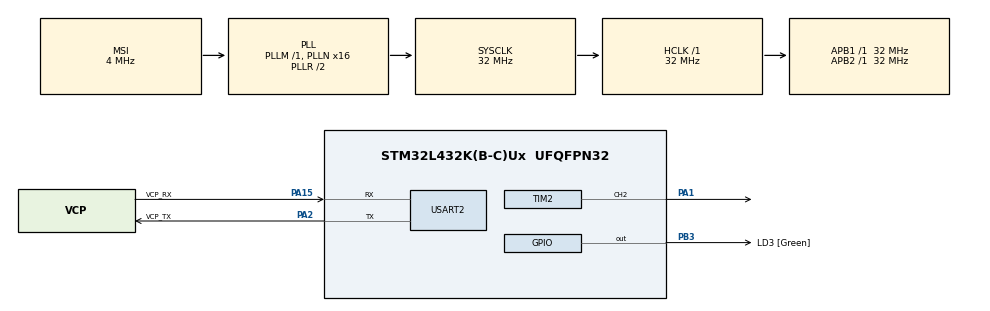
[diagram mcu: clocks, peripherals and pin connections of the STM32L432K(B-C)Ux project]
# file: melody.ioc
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Mcu.Family=STM32L4
Mcu.Name=STM32L432K(B-C)Ux
Mcu.Package=UFQFPN32
NVIC.PriorityGroup=NVIC_PRIORITYGROUP_4
PA0.GPIO_Label=MCO [High speed clock in]
PA0.Mode=HSE-External-Clock-Source-for-LittleOrca
PA0.Signal=RCC_CK_IN
PA1.Signal=S_TIM2_CH2
PA13\ (JTMS-SWDIO).GPIO_Label=SWDIO
PA13\ (JTMS-SWDIO).Mode=Serial_Wire
PA13\ (JTMS-SWDIO).Signal=SYS_JTMS-SWDIO
PA14\ (JTCK-SWCLK).GPIO_Label=SWCLK
PA14\ (JTCK-SWCLK).Mode=Serial_Wire
PA14\ (JTCK-SWCLK).Signal=SYS_JTCK-SWCLK
PA15\ (JTDI).GPIO_Label=VCP_RX
PA15\ (JTDI).Mode=Asynchronous
PA15\ (JTDI).Signal=USART2_RX
PA2.GPIO_Label=VCP_TX
PA2.Mode=Asynchronous
PA2.Signal=USART2_TX
PB3\ (JTDO-TRACESWO).GPIO_Label=LD3 [Green]
PB3\ (JTDO-TRACESWO).Signal=GPIO_Output
PC14-OSC32_IN\ (PC14).Mode=LSE-External-Oscillator
PC14-OSC32_IN\ (PC14).Signal=RCC_OSC32_IN
PC15-OSC32_OUT\ (PC15).Mode=LSE-External-Oscillator
PC15-OSC32_OUT\ (PC15).Signal=RCC_OSC32_OUT
ProjectManager.HeapSize=0x200
ProjectManager.StackSize=0x400
ProjectManager.TargetToolchain=Makefile
RCC.AHBFreq_Value=32000000
RCC.APB1Freq_Value=32000000
RCC.APB1TimFreq_Value=32000000
RCC.APB2Freq_Value=32000000
RCC.APB2TimFreq_Value=32000000
RCC.CortexFreq_Value=32000000
RCC.HCLKFreq_Value=32000000
RCC.HSE_VALUE=8000000
RCC.HSI16_VALUE=16000000
RCC.HSI48_VALUE=48000000
RCC.HSI_VALUE=16000000
RCC.MSI_VALUE=4000000
RCC.PLLMUL=RCC_PLLMUL_4
RCC.PLLN=16
RCC.SYSCLKFreq_VALUE=32000000
RCC.SYSCLKSource=RCC_SYSCLKSOURCE_PLLCLK
RCC.VCOOutputFreq_Value=64000000
SH.S_TIM2_CH2.0=TIM2_CH2,PWM Generation2 CH2
TIM2.AutoReloadPreload=TIM_AUTORELOAD_PRELOAD_DISABLE
TIM2.Channel-PWM\ Generation2\ CH2=TIM_CHANNEL_2
TIM2.OC2Preload_PWM=ENABLE
TIM2.OCMode_PWM-PWM\ Generation2\ CH2=TIM_OCMODE_PWM1
TIM2.Period=72727
TIM2.Pulse-PWM\ Generation2\ CH2=36363
USART2.VirtualMode-Asynchronous=VM_ASYNC
board=NUCLEO-L432KC

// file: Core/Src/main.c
/* USER CODE BEGIN Header */
/**
  ******************************************************************************
  * @file           : main.c
  * @brief          : Main program body
  ******************************************************************************
  * @attention
  *
  * Copyright (c) 2022 STMicroelectronics.
  * All rights reserved.
  *
  * This software is licensed under terms that can be found in the LICENSE file
  * in the root directory of this software component.
  * If no LICENSE file comes with this software, it is provided AS-IS.
  *
  ******************************************************************************
  */
/* USER CODE END Header */
#include "main.h"

TIM_HandleTypeDef htim2;

UART_HandleTypeDef huart2;

void SystemClock_Config(void);
static void MX_GPIO_Init(void);
static void MX_USART2_UART_Init(void);
static void MX_TIM2_Init(void);

struct note{
	float frequency;
	int value;

};

int main(void)

{
  /* MCU Configuration--------------------------------------------------------*/
  /* Reset of all peripherals, Initializes the Flash interface and the Systick. */

 HAL_Init();

 /* Configure the system clock */

  SystemClock_Config();

 /* Initialize all configured peripherals */

  MX_GPIO_Init();
  MX_USART2_UART_Init();
  MX_TIM2_Init();

  /* Infinite loop */

  /* USER CODE BEGIN WHILE */
 #define MHz 32000000
 #define NOTE_E6  1319
 #define NOTE_G6  1568
 #define NOTE_A6  1760
 #define NOTE_AS6 1865
 #define NOTE_B6  1976
 #define NOTE_C7  2093
 #define NOTE_D7  2349
 #define NOTE_E7  2637
 #define NOTE_F7  2794
 #define NOTE_G7  3136
 #define NOTE_A7  3520
 #define NOTE_B7  3951

 void Play(int note, int ms){
	__HAL_TIM_SET_COUNTER(&htim2,0);
	__HAL_TIM_SET_AUTORELOAD(&htim2,MHz/note);
     __HAL_TIM_SET_COMPARE(&htim2,TIM_CHANNEL_2,MHz/note/2);
	HAL_TIM_PWM_Start(&htim2,TIM_CHANNEL_2);
	HAL_Delay(ms/2);

	HAL_TIM_PWM_Stop(&htim2,TIM_CHANNEL_2);

	HAL_Delay(ms/2);

  }

  void PlayMusic(const struct note *Notes, int length, float Speed){

  	for(int i = 0; i < length; i++){

  		float finalSpeed = Notes[i].value - Notes[i].value%2;

  		if(finalSpeed == 0)

  			finalSpeed = 1.0;

  		finalSpeed = 1.0/finalSpeed;

		if(Notes[i].value%2 == 1)

			finalSpeed += finalSpeed*0.5;

  		Play(Notes[i].frequency,Speed*finalSpeed);

  	}

  }

  const struct note song1[]  = {
	{NOTE_E7,4},
	{NOTE_E7,4},
	{NOTE_E7,4},

	{NOTE_C7,4},
	{NOTE_E7,4},
	{NOTE_G7,2},
	{NOTE_G7,4},

	{NOTE_C7,2},
	{NOTE_G6,2},
	{NOTE_E6,2},

	{NOTE_A6,4},
	{NOTE_B6,4},
	{NOTE_AS6,4},
	{NOTE_A6,4},

	{NOTE_G6,4},
	{NOTE_E7,4},
	{NOTE_G7,4},
	{NOTE_A7,4},

	{NOTE_F7,4},
	{NOTE_G7,4},
	{NOTE_E7,4},
	{NOTE_C7,4},
	{NOTE_D7,4},
	{NOTE_B6,4},

	{NOTE_C7,2},
	{NOTE_G6,2},
	{NOTE_E6,2},

	{NOTE_A6,4},
	{NOTE_B7,4},
	{NOTE_AS6,4},
	{NOTE_A6,4},

	{NOTE_G6,4},
	{NOTE_E7,4},
	{NOTE_G7,4},
	{NOTE_A7,4},

	{NOTE_F7,4},
	{NOTE_G7,4},
	{NOTE_E7,4},
	{NOTE_C7,4},
	{NOTE_D7,4},
	{NOTE_B6,4},

  };

  while (1)

  {
    /* USER CODE END WHILE */

	PlayMusic(song1,sizeof(song1)/sizeof(song1[0]),1000);

  }

}

void SystemClock_Config(void)
{
  RCC_OscInitTypeDef RCC_OscInitStruct = {0};
  RCC_ClkInitTypeDef RCC_ClkInitStruct = {0};

  /** Configure the main internal regulator output voltage
  */
  if (HAL_PWREx_ControlVoltageScaling(PWR_REGULATOR_VOLTAGE_SCALE1) != HAL_OK)
  {
    Error_Handler();
  }

  /** Configure LSE Drive Capability
  */
  HAL_PWR_EnableBkUpAccess();
  __HAL_RCC_LSEDRIVE_CONFIG(RCC_LSEDRIVE_LOW);

  /** Initializes the RCC Oscillators according to the specified parameters
  * in the RCC_OscInitTypeDef structure.
  */
  RCC_OscInitStruct.OscillatorType = RCC_OSCILLATORTYPE_LSE|RCC_OSCILLATORTYPE_MSI;
  RCC_OscInitStruct.LSEState = RCC_LSE_ON;
  RCC_OscInitStruct.MSIState = RCC_MSI_ON;
  RCC_OscInitStruct.MSICalibrationValue = 0;
  RCC_OscInitStruct.MSIClockRange = RCC_MSIRANGE_6;
  RCC_OscInitStruct.PLL.PLLState = RCC_PLL_ON;
  RCC_OscInitStruct.PLL.PLLSource = RCC_PLLSOURCE_MSI;
  RCC_OscInitStruct.PLL.PLLM = 1;
  RCC_OscInitStruct.PLL.PLLN = 16;
  RCC_OscInitStruct.PLL.PLLP = RCC_PLLP_DIV7;
  RCC_OscInitStruct.PLL.PLLQ = RCC_PLLQ_DIV2;
  RCC_OscInitStruct.PLL.PLLR = RCC_PLLR_DIV2;
  if (HAL_RCC_OscConfig(&RCC_OscInitStruct) != HAL_OK)
  {
    Error_Handler();
  }

  /** Initializes the CPU, AHB and APB buses clocks
  */
  RCC_ClkInitStruct.ClockType = RCC_CLOCKTYPE_HCLK|RCC_CLOCKTYPE_SYSCLK
                              |RCC_CLOCKTYPE_PCLK1|RCC_CLOCKTYPE_PCLK2;
  RCC_ClkInitStruct.SYSCLKSource = RCC_SYSCLKSOURCE_PLLCLK;
  RCC_ClkInitStruct.AHBCLKDivider = RCC_SYSCLK_DIV1;
  RCC_ClkInitStruct.APB1CLKDivider = RCC_HCLK_DIV1;
  RCC_ClkInitStruct.APB2CLKDivider = RCC_HCLK_DIV1;

  if (HAL_RCC_ClockConfig(&RCC_ClkInitStruct, FLASH_LATENCY_1) != HAL_OK)
  {
    Error_Handler();
  }

  /** Enable MSI Auto calibration
  */
  HAL_RCCEx_EnableMSIPLLMode();
}

static void MX_TIM2_Init(void)
{

  TIM_MasterConfigTypeDef sMasterConfig = {0};
  TIM_OC_InitTypeDef sConfigOC = {0};

  htim2.Instance = TIM2;
  htim2.Init.Prescaler = 0;
  htim2.Init.CounterMode = TIM_COUNTERMODE_UP;
  htim2.Init.Period = 72727;
  htim2.Init.ClockDivision = TIM_CLOCKDIVISION_DIV1;
  htim2.Init.AutoReloadPreload = TIM_AUTORELOAD_PRELOAD_DISABLE;
  if (HAL_TIM_PWM_Init(&htim2) != HAL_OK)
  {
    Error_Handler();
  }
  sMasterConfig.MasterOutputTrigger = TIM_TRGO_RESET;
  sMasterConfig.MasterSlaveMode = TIM_MASTERSLAVEMODE_DISABLE;
  if (HAL_TIMEx_MasterConfigSynchronization(&htim2, &sMasterConfig) != HAL_OK)
  {
    Error_Handler();
  }
  sConfigOC.OCMode = TIM_OCMODE_PWM1;
  sConfigOC.Pulse = 36363;
  sConfigOC.OCPolarity = TIM_OCPOLARITY_HIGH;
  sConfigOC.OCFastMode = TIM_OCFAST_DISABLE;
  if (HAL_TIM_PWM_ConfigChannel(&htim2, &sConfigOC, TIM_CHANNEL_2) != HAL_OK)
  {
    Error_Handler();
  }
  HAL_TIM_MspPostInit(&htim2);

}

static void MX_USART2_UART_Init(void)
{

  huart2.Instance = USART2;
  huart2.Init.BaudRate = 115200;
  huart2.Init.WordLength = UART_WORDLENGTH_8B;
  huart2.Init.StopBits = UART_STOPBITS_1;
  huart2.Init.Parity = UART_PARITY_NONE;
  huart2.Init.Mode = UART_MODE_TX_RX;
  huart2.Init.HwFlowCtl = UART_HWCONTROL_NONE;
  huart2.Init.OverSampling = UART_OVERSAMPLING_16;
  huart2.Init.OneBitSampling = UART_ONE_BIT_SAMPLE_DISABLE;
  huart2.AdvancedInit.AdvFeatureInit = UART_ADVFEATURE_NO_INIT;
  if (HAL_UART_Init(&huart2) != HAL_OK)
  {
    Error_Handler();
  }

}

static void MX_GPIO_Init(void)
{
  GPIO_InitTypeDef GPIO_InitStruct = {0};

  /* GPIO Ports Clock Enable */
  __HAL_RCC_GPIOC_CLK_ENABLE();
  __HAL_RCC_GPIOA_CLK_ENABLE();
  __HAL_RCC_GPIOB_CLK_ENABLE();

  /*Configure GPIO pin Output Level */
  HAL_GPIO_WritePin(LD3_GPIO_Port, LD3_Pin, GPIO_PIN_RESET);

  /*Configure GPIO pin : LD3_Pin */
  GPIO_InitStruct.Pin = LD3_Pin;
  GPIO_InitStruct.Mode = GPIO_MODE_OUTPUT_PP;
  GPIO_InitStruct.Pull = GPIO_NOPULL;
  GPIO_InitStruct.Speed = GPIO_SPEED_FREQ_LOW;
  HAL_GPIO_Init(LD3_GPIO_Port, &GPIO_InitStruct);

}

void Error_Handler(void)
{
  __disable_irq();
  while (1)
  {
  }
}
